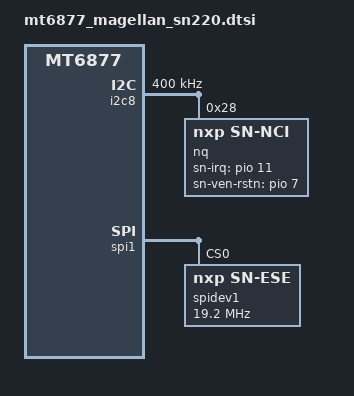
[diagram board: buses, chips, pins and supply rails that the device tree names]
/**********************************************************************************
* Copyright (c)  2008-2020  Guangdong oplus Mobile Comm Corp., Ltd
*
***********************************************************************************/
&odm {
	nfc_chipset:nfc_chipset {
		compatible = "oplus-nfc-chipset";
		chipset-23243 = "SN220P";
	};
};

&i2c8 {
       status = "okay";
       clock-frequency = <400000>;
       nq@28 {
               compatible = "nxp,sn-nci";
               reg = <0x28>;
               nxp,sn-irq = <&pio 11 0x0>;
               nxp,sn-ven-rstn = <&pio 7 0x0>;
               //nxp,sn-dwl-req = <&pio 22 0x0>;
               interrupt-parent = <&pio>;
       };
};

&spi1 {
       status = "okay";
       #address-cells = <1>;
       #size-cells = <0>;
       spidev1: p61@1 {
       compatible = "nxp,sn-ese";
       reg = <0>;
       spi-max-frequency = <19200000>;
       nxp,nfcc = "8-0028";
       };
};

